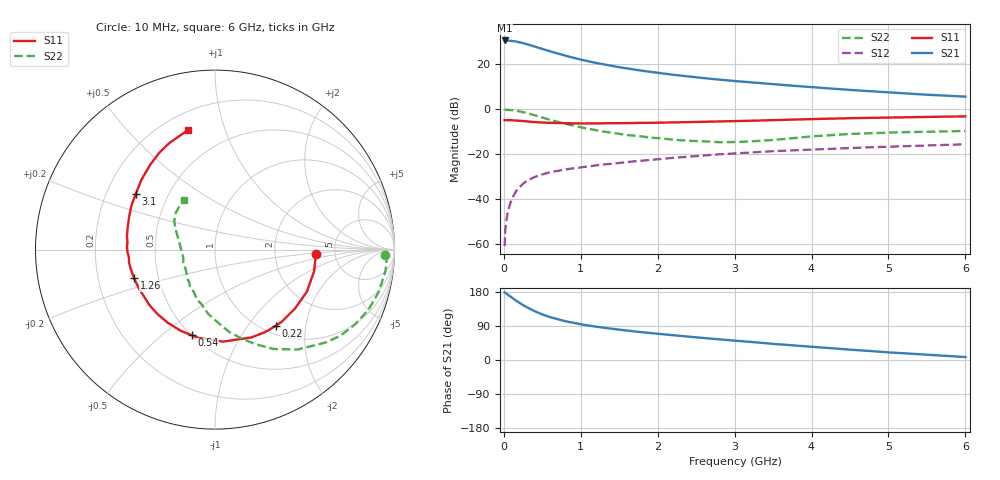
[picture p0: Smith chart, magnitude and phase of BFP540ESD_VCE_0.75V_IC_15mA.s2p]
! Infineon Technologies  Discrete & RF Semiconductors
! BFP540ESD
! VCE = 0.75 V,  IC =  15 mA
! Common Emitter S-Parameters:  Nov 2015
# GHz  S  MA  R  50
!  f  S11  S21  S12  S22
! GHz  MAG  ANG  MAG  ANG  MAG  ANG  MAG  ANG
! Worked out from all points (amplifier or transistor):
!   210 points, 10 MHz to 6 GHz, reference 50 ohm
!   highest |S21| = 30.4 dB at 10 MHz (marker M1)
!   |S21| within 3 dB of that: start of sweep to 428.8 MHz
!   unconditionally stable (mu >= 1): start of sweep to 11.67 MHz; 2.32 GHz to end of sweep
!   at 185 MHz: K = 0.17, MSG = 32.6 dB, |S12| = -35.4 dB
!   at 1.52 GHz: K = 0.85, MSG = 21.1 dB, |S12| = -23.9 dB
!   at 6 GHz: K = 1.14, MAG = 8.3 dB, |S12| = -15.7 dB
!   S11 on the Smith chart (normalised r, x): 10 MHz: 3.56, -0.25; 220 MHz: 1.14, -1.37; 540 MHz: 0.50, -0.63; 1.26 GHz: 0.36, -0.15; 3.1 GHz: 0.33, +0.29; 6 GHz: 0.30, +0.76
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0.01  0.5628 -2.4  32.98 178.4  0.0009 85.0  0.9465 -1.8
0.02  0.5623 -5.5  32.61 177.4  0.0021 80.0  0.9588 -2.6
0.05  0.5648 -12.5  32.81 172.6  0.005 84.7  0.9575 -7.0
0.1  0.5631 -24.6  32.35 165.2  0.0095 79.9  0.9426 -14.4
0.155  0.552 -37.6  31.29 157.3  0.0145 77.0  0.9144 -22.0
0.22  0.5423 -51.5  29.57 148.7  0.0196 71.4  0.8688 -30.6
0.3  0.5295 -67.7  27.27 139.0  0.0252 66.6  0.8052 -40.0
0.4  0.5145 -85.0  24.18 128.7  0.0308 59.4  0.723 -50.3
0.5  0.5009 -100.4  21.46 120.1  0.0352 56.5  0.6434 -59.4
0.54  0.4942 -105.3  20.41 117.5  0.0368 55.4  0.6147 -62.1
0.62  0.4887 -114.8  18.52 112.1  0.0398 53.6  0.5625 -67.9
0.7  0.4851 -123.0  16.92 107.4  0.0422 52.3  0.5168 -73.4
0.8  0.4812 -132.3  15.11 102.3  0.0453 50.6  0.4672 -79.9
1.02  0.4743 -148.0  12.18 93.6  0.051 48.7  0.3843 -91.3
1.26  0.4781 -160.7  9.995 86.3  0.0574 47.5  0.3222 -102.1
1.6  0.4817 -175.0  7.891 77.6  0.0657 46.2  0.2625 -116.9
2.02  0.4961 171.5  6.236 68.7  0.0767 44.3  0.2238 -133.0
2.6  0.5177 156.2  4.809 57.9  0.0919 41.0  0.1915 -157.2
3.1  0.54 144.8  4.021 49.5  0.1051 37.4  0.1864 -177.3
4.1  0.5987 126.0  2.95 33.4  0.1273 28.7  0.2511 151.5
5.1  0.6485 112.1  2.27 19.0  0.1467 20.2  0.3015 135.4
6  0.6825 102.6  1.872 7.8  0.164 13.7  0.3234 122.1
